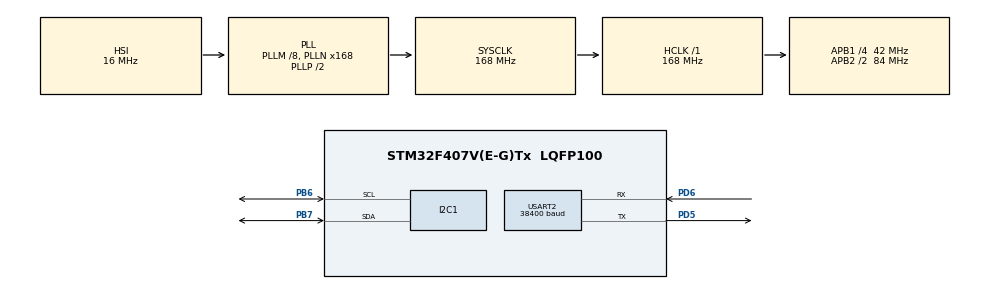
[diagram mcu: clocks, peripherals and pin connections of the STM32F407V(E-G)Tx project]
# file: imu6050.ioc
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Mcu.Family=STM32F4
Mcu.Name=STM32F407V(E-G)Tx
Mcu.Package=LQFP100
NVIC.PriorityGroup=NVIC_PRIORITYGROUP_4
NVIC.TIM3_IRQn=true\:0\:0\:false\:false\:true\:true
PB6.Mode=I2C
PB6.Signal=I2C1_SCL
PB7.Mode=I2C
PB7.Signal=I2C1_SDA
PD5.Mode=Asynchronous
PD5.Signal=USART2_TX
PD6.Mode=Asynchronous
PD6.Signal=USART2_RX
ProjectManager.HeapSize=0x200
ProjectManager.StackSize=0x400
ProjectManager.TargetToolchain=MDK-ARM V5
RCC.48MHZClocksFreq_Value=84000000
RCC.AHBFreq_Value=168000000
RCC.APB1CLKDivider=RCC_HCLK_DIV4
RCC.APB1Freq_Value=42000000
RCC.APB1TimFreq_Value=84000000
RCC.APB2CLKDivider=RCC_HCLK_DIV2
RCC.APB2Freq_Value=84000000
RCC.APB2TimFreq_Value=168000000
RCC.CortexFreq_Value=168000000
RCC.HCLKFreq_Value=168000000
RCC.HSE_VALUE=25000000
RCC.HSI_VALUE=16000000
RCC.LSE_VALUE=32768
RCC.PLLM=8
RCC.PLLN=168
RCC.SYSCLKFreq_VALUE=168000000
RCC.SYSCLKSource=RCC_SYSCLKSOURCE_PLLCLK
RCC.VCOOutputFreq_Value=336000000
TIM3.Period=2000
TIM3.Prescaler=10
USART2.BaudRate=38400
USART2.VirtualMode=VM_ASYNC
VP_TIM3_VS_ClockSourceINT.Mode=Internal
board=imu6050

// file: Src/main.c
/**
  ******************************************************************************
  * File Name          : main.c
  * Description        : Main program body
  ******************************************************************************
  ** This notice applies to any and all portions of this file
  * that are not between comment pairs USER CODE BEGIN and
  * USER CODE END. Other portions of this file, whether
  * inserted by the user or by software development tools
  * are owned by their respective copyright owners.
  *
  * COPYRIGHT(c) 2019 STMicroelectronics
  *
  * Redistribution and use in source and binary forms, with or without modification,
  * are permitted provided that the following conditions are met:
  *   1. Redistributions of source code must retain the above copyright notice,
  *      this list of conditions and the following disclaimer.
  *   2. Redistributions in binary form must reproduce the above copyright notice,
  *      this list of conditions and the following disclaimer in the documentation
  *      and/or other materials provided with the distribution.
  *   3. Neither the name of STMicroelectronics nor the names of its contributors
  *      may be used to endorse or promote products derived from this software
  *      without specific prior written permission.
  *
  * THIS SOFTWARE IS PROVIDED BY THE COPYRIGHT HOLDERS AND CONTRIBUTORS "AS IS"
  * AND ANY EXPRESS OR IMPLIED WARRANTIES, INCLUDING, BUT NOT LIMITED TO, THE
  * IMPLIED WARRANTIES OF MERCHANTABILITY AND FITNESS FOR A PARTICULAR PURPOSE ARE
  * DISCLAIMED. IN NO EVENT SHALL THE COPYRIGHT HOLDER OR CONTRIBUTORS BE LIABLE
  * FOR ANY DIRECT, INDIRECT, INCIDENTAL, SPECIAL, EXEMPLARY, OR CONSEQUENTIAL
  * DAMAGES (INCLUDING, BUT NOT LIMITED TO, PROCUREMENT OF SUBSTITUTE GOODS OR
  * SERVICES; LOSS OF USE, DATA, OR PROFITS; OR BUSINESS INTERRUPTION) HOWEVER
  * CAUSED AND ON ANY THEORY OF LIABILITY, WHETHER IN CONTRACT, STRICT LIABILITY,
  * OR TORT (INCLUDING NEGLIGENCE OR OTHERWISE) ARISING IN ANY WAY OUT OF THE USE
  * OF THIS SOFTWARE, EVEN IF ADVISED OF THE POSSIBILITY OF SUCH DAMAGE.
  *
  ******************************************************************************
  */

#include "main.h"
#include "stm32f4xx_hal.h"
#include "i2c.h"
#include "tim.h"
#include "usart.h"
#include "gpio.h"

/* USER CODE BEGIN Includes */

#include "mpu6050.h"
extern char string[100];

#define mpu1_address 0xD0
#define mpu2_address 0xD2
#define mpu3_address 0xD0
#define RAD_TO_DEG 57.295779513082320876798154814105
#define PI 3.1415926535897932384626433832795

/* USER CODE END Includes */

/* USER CODE BEGIN PV */
extern float gyro_x,gyro_y,gyro_z,accel_x,accel_y,accel_z,mag_x, mag_y ,mag_z,angle;
extern long int gyro_cal_y;
extern float asax , asay ,asaz; //Initialing sensitivity adjustment values
extern float Xa,Ya,Za,ts;
extern float Xg,Yg,Zg;
extern double cal,cal1;
extern float angle1;
extern float angle_gyro,del_x,count;
extern int set_gyro_angle;
extern uint8_t data[14];
extern char string[100];

MPU6050 MPU1 = {&hi2c1,mpu1_address};
MPU6050 MPU2 = {&hi2c1,mpu2_address};
//MPU6050 MPU3 = {&hi2c1,mpu3_address};

/* Private variables ---------------------------------------------------------*/

/* USER CODE END PV */

void SystemClock_Config(void);

/* USER CODE BEGIN PFP */
/* Private function prototypes -----------------------------------------------*/

/* USER CODE END PFP */

int main(void)
{

  /* MCU Configuration----------------------------------------------------------*/

  /* Reset of all peripherals, Initializes the Flash interface and the Systick. */
  HAL_Init();

  /* Configure the system clock */
  SystemClock_Config();

  /* Initialize all configured peripherals */
  MX_GPIO_Init();
  MX_I2C1_Init();
  MX_USART2_UART_Init();
  MX_TIM3_Init();

  /* USER CODE BEGIN 2 */

	MPU6050_Initialize(&MPU1);
	//MPU6050_Initialize(&MPU2);
	//MPU6050_Initialize(&MPU3);
  //MPU_GYRO_CAL();			/*Calibration is also required****/
  /* USER CODE END 2 */

  /* Infinite loop */
  /* USER CODE BEGIN WHILE */
	HAL_TIM_Base_Start_IT(&htim3);
  while (1)
  {
  /* USER CODE END WHILE */

  /* USER CODE BEGIN 3 */

	//	MPU_SHOW_DATA(&MPU1);

		sprintf(string,"Angle1= %f , Angle2 = %f\r\n",MPU1.Angle,MPU2.Angle);
	  HAL_UART_Transmit(&huart2,(uint8_t *)&string,sizeof(string),0xFFFF);

			/*sprintf(string,"1st.Accelerometer_X = %f , Accelerometer_Y = %f , Accelerometer_Z = %f\r\n",
		MPU1.Gyroscope_X,MPU1.Gyroscope_Y,MPU1.Gyroscope_Z);
	  HAL_UART_Transmit(&huart2,(uint8_t *)&string,sizeof(string),0xFFFF);*/
  }
  /* USER CODE END 3 */

}

/** System Clock Configuration
*/
void SystemClock_Config(void)
{

  RCC_OscInitTypeDef RCC_OscInitStruct;
  RCC_ClkInitTypeDef RCC_ClkInitStruct;

    /**Configure the main internal regulator output voltage
    */
  __HAL_RCC_PWR_CLK_ENABLE();

  __HAL_PWR_VOLTAGESCALING_CONFIG(PWR_REGULATOR_VOLTAGE_SCALE1);

    /**Initializes the CPU, AHB and APB busses clocks
    */
  RCC_OscInitStruct.OscillatorType = RCC_OSCILLATORTYPE_HSI;
  RCC_OscInitStruct.HSIState = RCC_HSI_ON;
  RCC_OscInitStruct.HSICalibrationValue = 16;
  RCC_OscInitStruct.PLL.PLLState = RCC_PLL_ON;
  RCC_OscInitStruct.PLL.PLLSource = RCC_PLLSOURCE_HSI;
  RCC_OscInitStruct.PLL.PLLM = 8;
  RCC_OscInitStruct.PLL.PLLN = 168;
  RCC_OscInitStruct.PLL.PLLP = RCC_PLLP_DIV2;
  RCC_OscInitStruct.PLL.PLLQ = 4;
  if (HAL_RCC_OscConfig(&RCC_OscInitStruct) != HAL_OK)
  {
    _Error_Handler(__FILE__, __LINE__);
  }

    /**Initializes the CPU, AHB and APB busses clocks
    */
  RCC_ClkInitStruct.ClockType = RCC_CLOCKTYPE_HCLK|RCC_CLOCKTYPE_SYSCLK
                              |RCC_CLOCKTYPE_PCLK1|RCC_CLOCKTYPE_PCLK2;
  RCC_ClkInitStruct.SYSCLKSource = RCC_SYSCLKSOURCE_PLLCLK;
  RCC_ClkInitStruct.AHBCLKDivider = RCC_SYSCLK_DIV1;
  RCC_ClkInitStruct.APB1CLKDivider = RCC_HCLK_DIV4;
  RCC_ClkInitStruct.APB2CLKDivider = RCC_HCLK_DIV2;

  if (HAL_RCC_ClockConfig(&RCC_ClkInitStruct, FLASH_LATENCY_5) != HAL_OK)
  {
    _Error_Handler(__FILE__, __LINE__);
  }

    /**Configure the Systick interrupt time
    */
  HAL_SYSTICK_Config(HAL_RCC_GetHCLKFreq()/1000);

    /**Configure the Systick
    */
  HAL_SYSTICK_CLKSourceConfig(SYSTICK_CLKSOURCE_HCLK);

  /* SysTick_IRQn interrupt configuration */
  HAL_NVIC_SetPriority(SysTick_IRQn, 0, 0);
}

/* USER CODE BEGIN 4 */
void HAL_TIM_PeriodElapsedCallback(TIM_HandleTypeDef *htim)
{
	if(htim->Instance == TIM3)
	{
	   MPU_SHOW_DATA(&MPU1);			//This will give raw data(CAution!!!!!)
		 MPU_SHOW_DATA(&MPU2);			//This will give raw data(CAution!!!!!)
     MPU1.Angle += MPU1.Gyroscope_Y/1000;		//As we require angle in milisecond basis
		 MPU2.Angle += MPU2.Gyroscope_Y/1000;		//As we require angle in milisecond basis
		 cal = sqrt(MPU1.Accelerometer_X*MPU1.Accelerometer_X+MPU1.Accelerometer_Y*MPU1.Accelerometer_Y+MPU1.Accelerometer_Z*MPU1.Accelerometer_Z);
		cal1 = sqrt(MPU2.Accelerometer_X*MPU2.Accelerometer_X+MPU2.Accelerometer_Y*MPU2.Accelerometer_Y+MPU2.Accelerometer_Z*MPU2.Accelerometer_Z);
     MPU1.Accel_Angle = asin((float)MPU1.Accelerometer_X/cal)*RAD_TO_DEG;
		 MPU2.Accel_Angle = asin((float)MPU2.Accelerometer_X/cal1)*RAD_TO_DEG;

		if(set_gyro_angle)
		{
	   MPU1.Angle = MPU1.Angle*0.96 +MPU1.Accel_Angle*0.04;
		// MPU2.Angle = MPU2.Angle*0.96 +MPU2.Accel_Angle*0.04;
		}
		else
		{
			MPU1.Angle = MPU1.Accel_Angle;
		//	MPU2.Angle = MPU2.Accel_Angle;
			set_gyro_angle = 1;
		}

		//sprintf(string,"Angle ->%f \r\n",MPU1.Angle);
	  //HAL_UART_Transmit(&huart2,(uint8_t *)&string,sizeof(string),0xFFFF);
	}
}

/* USER CODE END 4 */

void _Error_Handler(char * file, int line)
{
  while(1)
  {
  }
}

/************************ (C) COPYRIGHT STMicroelectronics *****END OF FILE****/
